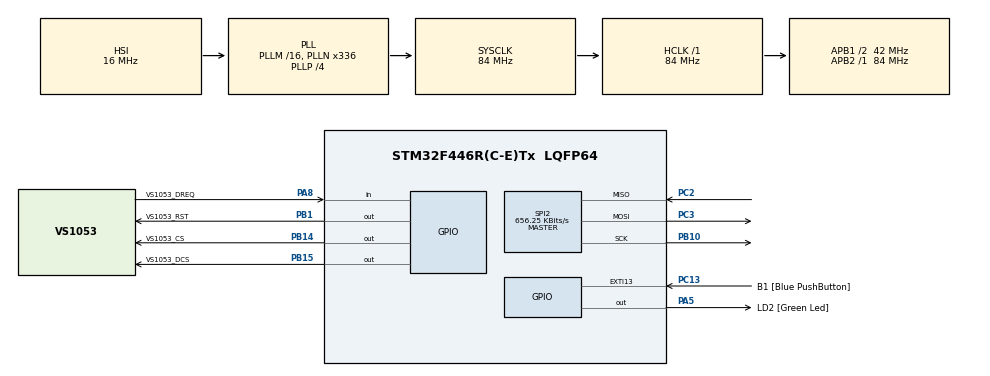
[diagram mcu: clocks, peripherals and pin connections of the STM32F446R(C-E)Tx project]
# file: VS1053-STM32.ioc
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Mcu.Family=STM32F4
Mcu.Name=STM32F446R(C-E)Tx
Mcu.Package=LQFP64
NVIC.PriorityGroup=NVIC_PRIORITYGROUP_0
PA13.GPIO_Label=TMS
PA13.Signal=SYS_JTMS-SWDIO
PA14.GPIO_Label=TCK
PA14.Signal=SYS_JTCK-SWCLK
PA2.GPIO_Label=USART_TX
PA2.Signal=USART2_TX
PA3.GPIO_Label=USART_RX
PA3.Signal=USART2_RX
PA5.GPIO_Label=LD2 [Green Led]
PA5.Signal=GPIO_Output
PA8.GPIO_Label=VS1053_DREQ
PA8.Signal=GPIO_Input
PB1.GPIO_Label=VS1053_RST
PB1.Signal=GPIO_Output
PB10.Mode=Full_Duplex_Master
PB10.Signal=SPI2_SCK
PB14.GPIO_Label=VS1053_CS
PB14.Signal=GPIO_Output
PB15.GPIO_Label=VS1053_DCS
PB15.Signal=GPIO_Output
PB3.GPIO_Label=SWO
PB3.Signal=SYS_JTDO-SWO
PC13.GPIO_Label=B1 [Blue PushButton]
PC13.GPIO_ModeDefaultEXTI=GPIO_MODE_IT_FALLING
PC13.Signal=GPXTI13
PC14-OSC32_IN.Signal=RCC_OSC32_IN
PC15-OSC32_OUT.Signal=RCC_OSC32_OUT
PC2.Mode=Full_Duplex_Master
PC2.Signal=SPI2_MISO
PC3.Mode=Full_Duplex_Master
PC3.Signal=SPI2_MOSI
PH0-OSC_IN.Signal=RCC_OSC_IN
PH1-OSC_OUT.Signal=RCC_OSC_OUT
ProjectManager.HeapSize=0x200
ProjectManager.StackSize=0x400
ProjectManager.TargetToolchain=STM32CubeIDE
RCC.AHBFreq_Value=84000000
RCC.APB1CLKDivider=RCC_HCLK_DIV2
RCC.APB1Freq_Value=42000000
RCC.APB1TimFreq_Value=84000000
RCC.APB2Freq_Value=84000000
RCC.APB2TimFreq_Value=84000000
RCC.CortexFreq_Value=84000000
RCC.FLatency-AdvancedSettings=FLASH_LATENCY_2
RCC.HCLKFreq_Value=84000000
RCC.HSE_VALUE=8000000
RCC.HSI_VALUE=16000000
RCC.LSE_VALUE=32768
RCC.PLLN=336
RCC.PLLP=RCC_PLLP_DIV4
RCC.SYSCLKFreq_VALUE=84000000
RCC.SYSCLKSource=RCC_SYSCLKSOURCE_PLLCLK
RCC.USBFreq_Value=168000000
RCC.VCOOutputFreq_Value=336000000
SPI2.BaudRatePrescaler=SPI_BAUDRATEPRESCALER_64
SPI2.CalculateBaudRate=656.25 KBits/s
SPI2.Direction=SPI_DIRECTION_2LINES
SPI2.Mode=SPI_MODE_MASTER
SPI2.VirtualType=VM_MASTER
board=NUCLEO-F446RE

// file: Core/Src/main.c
/* USER CODE BEGIN Header */
/**
  ******************************************************************************
  * @file           : main.c
  * @brief          : Main program body
  ******************************************************************************
  * @attention
  *
  * <h2><center>&copy; Copyright (c) 2020 STMicroelectronics.
  * All rights reserved.</center></h2>
  *
  * This software component is licensed by ST under BSD 3-Clause license,
  * the "License"; You may not use this file except in compliance with the
  * License. You may obtain a copy of the License at:
  *                        opensource.org/licenses/BSD-3-Clause
  *
  ******************************************************************************
  */
/* USER CODE END Header */
#include "main.h"

/* USER CODE BEGIN Includes */

#include "VS1053.h"
#include "testmp3.h"

/* USER CODE END Includes */

SPI_HandleTypeDef hspi2;

void SystemClock_Config(void);
static void MX_GPIO_Init(void);
static void MX_SPI2_Init(void);

/* USER CODE BEGIN 0 */

//For writing data to VS10xx registers at addr
void vs1053_write_sci(uint8_t addr, uint16_t data) {

	uint8_t d = 2;

	while(!HAL_GPIO_ReadPin(VS1053_DREQ_GPIO_Port, VS1053_DREQ_Pin)); //Wait until DREQ is high

	HAL_GPIO_WritePin(VS1053_CS_GPIO_Port, VS1053_CS_Pin, 0); //Activate CS (Chip select, Active Low)
	HAL_SPI_Transmit(&hspi2, &d, 1, 50); //Write command code
	HAL_SPI_Transmit(&hspi2, &addr, 1, 50); //SCI Register number
	d = ((uint8_t)(data >> 8) & 0xFF);
	HAL_SPI_Transmit(&hspi2, &d, 1, 50); //LSB
	d = ((uint8_t)(data & 0xFF));
	HAL_SPI_Transmit(&hspi2, &d, 1, 50); //LSB
	HAL_GPIO_WritePin(VS1053_CS_GPIO_Port, VS1053_CS_Pin, 1); //De-Activate CS (Chip select, Active Low)
}

//For reading VS10xx register at addr
uint16_t vs1053_read_sci(uint8_t addr) {

	uint16_t res;

	uint8_t r;

	uint8_t d = 3;

	while(!HAL_GPIO_ReadPin(VS1053_DREQ_GPIO_Port, VS1053_DREQ_Pin)); //Wait until DREQ is high

	HAL_GPIO_WritePin(VS1053_CS_GPIO_Port, VS1053_CS_Pin, 0); //Activate CS (Chip select, Active Low)
	HAL_SPI_Transmit(&hspi2, &d, 1, 50); //Read command code
	HAL_SPI_Transmit(&hspi2, &addr, 1, 50); //SCI Register number
	HAL_SPI_Receive(&hspi2, &r, 1, 50);
	res = ((uint16_t)(r << 8)) & 0xFF00;
	HAL_SPI_Receive(&hspi2, &r, 1, 50);
	res |= ((uint16_t)r & 0x00FF);
	HAL_GPIO_WritePin(VS1053_CS_GPIO_Port, VS1053_CS_Pin, 1); //De-Activate CS (Chip select, Active Low)

	return res;
}

//Sending MP3 raw bytes. Max 32 bytes at time without checking DREQ each time
int vs1053_write_sdi(uint8_t *data, uint8_t bytes){

	if(bytes > 32) {
		return -1;//Error - too many bytes to transfer
	}

	while(!HAL_GPIO_ReadPin(VS1053_DREQ_GPIO_Port, VS1053_DREQ_Pin));

	HAL_GPIO_WritePin(VS1053_DCS_GPIO_Port, VS1053_DCS_Pin, 0); //De-Activate DCS (Active Low)

	HAL_SPI_Transmit(&hspi2, data, bytes, 50);
	data++;

	HAL_GPIO_WritePin(VS1053_DCS_GPIO_Port, VS1053_DCS_Pin, 1);
	return 0;
}

/* USER CODE END 0 */

int main(void)
{

  /* MCU Configuration--------------------------------------------------------*/

  /* Reset of all peripherals, Initializes the Flash interface and the Systick. */
  HAL_Init();

  /* Configure the system clock */
  SystemClock_Config();

  /* Initialize all configured peripherals */
  MX_GPIO_Init();
  MX_SPI2_Init();
  /* USER CODE BEGIN 2 */

  //VS1053 init
  HAL_GPIO_WritePin(VS1053_CS_GPIO_Port, VS1053_CS_Pin, 1); // cs_high();  //MP3_XCS, Init Control Select to deselected
  HAL_GPIO_WritePin(VS1053_DCS_GPIO_Port, VS1053_DCS_Pin, 1); //dcs_high(); //MP3_XDCS, Init Data Select to deselected
  HAL_GPIO_WritePin(VS1053_RST_GPIO_Port, VS1053_RST_Pin, 0); //digitalWrite(MP3_RESET, LOW); //Put VS1053 into hardware reset
  HAL_Delay(5);
  HAL_GPIO_WritePin(VS1053_RST_GPIO_Port, VS1053_RST_Pin, 1);
  /////

  uint16_t data = vs1053_read_sci(SCI_MODE);

  if(data != (SM_LINE1 | SM_SDINEW)) {

	  vs1053_write_sci(SCI_MODE, (SM_LINE1 | SM_SDINEW));
  }

  //Sending test mp3 data
  int j = 0;
  for(int i = outputfile_mp3_len; i > 32; i = i-32) {

	  vs1053_write_sdi(&outputfile_mp3[j], 32);
	  j = j+32;

  }

  /* USER CODE END 2 */

  /* Infinite loop */
  while (1)
  {

  }
}

void SystemClock_Config(void)
{
  RCC_OscInitTypeDef RCC_OscInitStruct = {0};
  RCC_ClkInitTypeDef RCC_ClkInitStruct = {0};

  /** Configure the main internal regulator output voltage
  */
  __HAL_RCC_PWR_CLK_ENABLE();
  __HAL_PWR_VOLTAGESCALING_CONFIG(PWR_REGULATOR_VOLTAGE_SCALE3);
  /** Initializes the RCC Oscillators according to the specified parameters
  * in the RCC_OscInitTypeDef structure.
  */
  RCC_OscInitStruct.OscillatorType = RCC_OSCILLATORTYPE_HSI;
  RCC_OscInitStruct.HSIState = RCC_HSI_ON;
  RCC_OscInitStruct.HSICalibrationValue = RCC_HSICALIBRATION_DEFAULT;
  RCC_OscInitStruct.PLL.PLLState = RCC_PLL_ON;
  RCC_OscInitStruct.PLL.PLLSource = RCC_PLLSOURCE_HSI;
  RCC_OscInitStruct.PLL.PLLM = 16;
  RCC_OscInitStruct.PLL.PLLN = 336;
  RCC_OscInitStruct.PLL.PLLP = RCC_PLLP_DIV4;
  RCC_OscInitStruct.PLL.PLLQ = 2;
  RCC_OscInitStruct.PLL.PLLR = 2;
  if (HAL_RCC_OscConfig(&RCC_OscInitStruct) != HAL_OK)
  {
    Error_Handler();
  }
  /** Initializes the CPU, AHB and APB buses clocks
  */
  RCC_ClkInitStruct.ClockType = RCC_CLOCKTYPE_HCLK|RCC_CLOCKTYPE_SYSCLK
                              |RCC_CLOCKTYPE_PCLK1|RCC_CLOCKTYPE_PCLK2;
  RCC_ClkInitStruct.SYSCLKSource = RCC_SYSCLKSOURCE_PLLCLK;
  RCC_ClkInitStruct.AHBCLKDivider = RCC_SYSCLK_DIV1;
  RCC_ClkInitStruct.APB1CLKDivider = RCC_HCLK_DIV2;
  RCC_ClkInitStruct.APB2CLKDivider = RCC_HCLK_DIV1;

  if (HAL_RCC_ClockConfig(&RCC_ClkInitStruct, FLASH_LATENCY_2) != HAL_OK)
  {
    Error_Handler();
  }
}

static void MX_SPI2_Init(void)
{

  /* SPI2 parameter configuration*/
  hspi2.Instance = SPI2;
  hspi2.Init.Mode = SPI_MODE_MASTER;
  hspi2.Init.Direction = SPI_DIRECTION_2LINES;
  hspi2.Init.DataSize = SPI_DATASIZE_8BIT;
  hspi2.Init.CLKPolarity = SPI_POLARITY_LOW;
  hspi2.Init.CLKPhase = SPI_PHASE_1EDGE;
  hspi2.Init.NSS = SPI_NSS_SOFT;
  hspi2.Init.BaudRatePrescaler = SPI_BAUDRATEPRESCALER_64;
  hspi2.Init.FirstBit = SPI_FIRSTBIT_MSB;
  hspi2.Init.TIMode = SPI_TIMODE_DISABLE;
  hspi2.Init.CRCCalculation = SPI_CRCCALCULATION_DISABLE;
  hspi2.Init.CRCPolynomial = 10;
  if (HAL_SPI_Init(&hspi2) != HAL_OK)
  {
    Error_Handler();
  }

}

static void MX_GPIO_Init(void)
{
  GPIO_InitTypeDef GPIO_InitStruct = {0};

  /* GPIO Ports Clock Enable */
  __HAL_RCC_GPIOC_CLK_ENABLE();
  __HAL_RCC_GPIOH_CLK_ENABLE();
  __HAL_RCC_GPIOA_CLK_ENABLE();
  __HAL_RCC_GPIOB_CLK_ENABLE();

  /*Configure GPIO pin Output Level */
  HAL_GPIO_WritePin(LD2_GPIO_Port, LD2_Pin, GPIO_PIN_RESET);

  /*Configure GPIO pin Output Level */
  HAL_GPIO_WritePin(GPIOB, VS1053_RST_Pin|VS1053_CS_Pin|VS1053_DCS_Pin, GPIO_PIN_RESET);

  /*Configure GPIO pin : B1_Pin */
  GPIO_InitStruct.Pin = B1_Pin;
  GPIO_InitStruct.Mode = GPIO_MODE_IT_FALLING;
  GPIO_InitStruct.Pull = GPIO_NOPULL;
  HAL_GPIO_Init(B1_GPIO_Port, &GPIO_InitStruct);

  /*Configure GPIO pins : USART_TX_Pin USART_RX_Pin */
  GPIO_InitStruct.Pin = USART_TX_Pin|USART_RX_Pin;
  GPIO_InitStruct.Mode = GPIO_MODE_AF_PP;
  GPIO_InitStruct.Pull = GPIO_NOPULL;
  GPIO_InitStruct.Speed = GPIO_SPEED_FREQ_VERY_HIGH;
  GPIO_InitStruct.Alternate = GPIO_AF7_USART2;
  HAL_GPIO_Init(GPIOA, &GPIO_InitStruct);

  /*Configure GPIO pin : LD2_Pin */
  GPIO_InitStruct.Pin = LD2_Pin;
  GPIO_InitStruct.Mode = GPIO_MODE_OUTPUT_PP;
  GPIO_InitStruct.Pull = GPIO_NOPULL;
  GPIO_InitStruct.Speed = GPIO_SPEED_FREQ_LOW;
  HAL_GPIO_Init(LD2_GPIO_Port, &GPIO_InitStruct);

  /*Configure GPIO pins : VS1053_RST_Pin VS1053_CS_Pin VS1053_DCS_Pin */
  GPIO_InitStruct.Pin = VS1053_RST_Pin|VS1053_CS_Pin|VS1053_DCS_Pin;
  GPIO_InitStruct.Mode = GPIO_MODE_OUTPUT_PP;
  GPIO_InitStruct.Pull = GPIO_NOPULL;
  GPIO_InitStruct.Speed = GPIO_SPEED_FREQ_LOW;
  HAL_GPIO_Init(GPIOB, &GPIO_InitStruct);

  /*Configure GPIO pin : VS1053_DREQ_Pin */
  GPIO_InitStruct.Pin = VS1053_DREQ_Pin;
  GPIO_InitStruct.Mode = GPIO_MODE_INPUT;
  GPIO_InitStruct.Pull = GPIO_NOPULL;
  HAL_GPIO_Init(VS1053_DREQ_GPIO_Port, &GPIO_InitStruct);

}

void Error_Handler(void)
{
}

/************************ (C) COPYRIGHT STMicroelectronics *****END OF FILE****/
